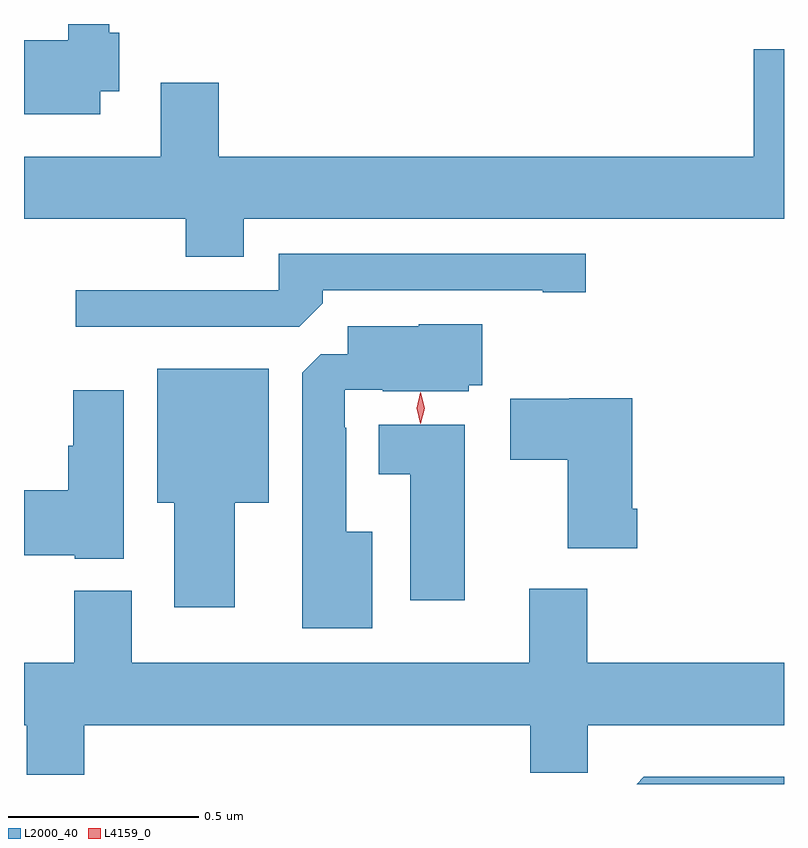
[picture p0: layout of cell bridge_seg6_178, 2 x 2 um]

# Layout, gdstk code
import gdstk
lib = gdstk.Library(unit=1e-6, precision=1e-09)
def P(c, l, *ps):  # polygons
    for p in ps: c.add(gdstk.Polygon(p, *l))
L2000_40 = (2000, 40)
L4159_0 = (4159, 0)

bridge_seg6_178 = lib.new_cell('bridge_seg6_178')
P(bridge_seg6_178, L2000_40, [(123.697,974.312),(123.748,974.312),(123.748,974.466),(123.721,974.466),(123.721,974.489),(123.614,974.489),(123.614,974.446),(123.497,974.446),(123.497,974.252),(123.697,974.252)],
  [(124.075,973.976),(125.497,973.976),(125.497,974.422),(125.418,974.422),(125.418,974.14),(124.01,974.14),(124.01,974.335),(123.857,974.335),(123.857,974.14),(123.497,974.14),(123.497,973.976),(123.923,973.976),(123.923,973.877),(124.075,973.877)],
  [(124.283,973.754),(124.283,973.788),(124.862,973.788),(124.862,973.783),(124.975,973.783),(124.975,973.884),(124.167,973.884),(124.167,973.788),(123.633,973.788),(123.633,973.692),(124.221,973.692)],
  [(124.414,973.153),(124.345,973.153),(124.345,973.427),(124.341,973.427),(124.341,973.527),(124.441,973.527),(124.441,973.523),(124.668,973.523),(124.668,973.539),(124.703,973.539),(124.703,973.699),(124.536,973.699),(124.536,973.693),(124.349,973.693),(124.349,973.62),(124.278,973.62),(124.229,973.571),(124.229,972.899),(124.414,972.899)],
  [(124.051,973.229),(124.141,973.229),(124.141,973.582),(123.848,973.582),(123.848,973.229),(123.893,973.229),(123.893,972.954),(124.051,972.954)],
  [(123.76,973.525),(123.626,973.525),(123.626,973.379),(123.614,973.379),(123.614,973.262),(123.497,973.262),(123.497,973.091),(123.63,973.091),(123.63,973.082),(123.76,973.082)],
  [(125.111,973.213),(125.098,973.213),(125.098,973.504),(124.932,973.504),(124.932,973.503),(124.776,973.503),(124.776,973.342),(124.928,973.342),(124.928,973.109),(125.111,973.109)],
  [(124.657,973.435),(124.43,973.435),(124.43,973.304),(124.514,973.304),(124.514,972.972),(124.657,972.972)],
  [(123.656,972.644),(124.829,972.644),(124.829,972.518),(124.98,972.518),(124.98,972.644),(125.497,972.644),(125.497,972.808),(124.979,972.808),(124.979,973.003),(124.826,973.003),(124.826,972.808),(123.781,972.808),(123.781,972.997),(123.629,972.997),(123.629,972.808),(123.497,972.808),(123.497,972.644),(123.504,972.644),(123.504,972.513),(123.656,972.513)],
  [(125.497,972.508),(125.128,972.508),(125.109,972.489),(125.497,972.489)])
P(bridge_seg6_178, L4159_0, [(124.541,973.437),(124.54,973.438),(124.531,973.478),(124.54,973.519),(124.541,973.52),(124.541,973.519),(124.551,973.478),(124.541,973.438)])

lib.write_gds('bridge_seg6_178.gds')
